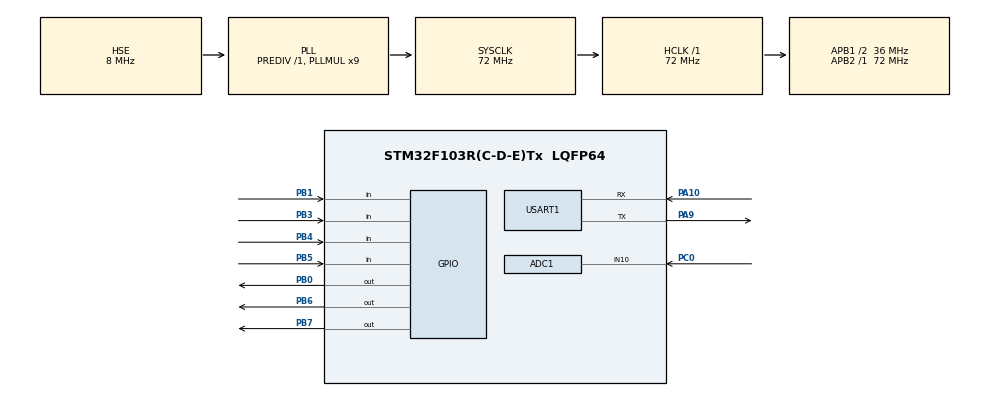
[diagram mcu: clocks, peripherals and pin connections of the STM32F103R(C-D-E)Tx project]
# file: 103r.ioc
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ADC1.Channel-1\#ChannelRegularConversion=ADC_CHANNEL_10
ADC1.NbrOfConversionFlag=1
ADC1.Rank-1\#ChannelRegularConversion=1
ADC1.SamplingTime-1\#ChannelRegularConversion=ADC_SAMPLETIME_1CYCLE_5
ADC1.master=1
Mcu.Family=STM32F1
Mcu.Name=STM32F103R(C-D-E)Tx
Mcu.Package=LQFP64
NVIC.PriorityGroup=NVIC_PRIORITYGROUP_2
NVIC.TIM6_IRQn=true\:0\:0\:false\:false\:true\:true\:true
NVIC.TIM7_IRQn=true\:0\:0\:false\:false\:true\:true\:true
NVIC.USART1_IRQn=true\:0\:0\:false\:false\:true\:true\:true
PA10.Mode=Asynchronous
PA10.Signal=USART1_RX
PA13.Mode=Serial_Wire
PA13.Signal=SYS_JTMS-SWDIO
PA14.Mode=Serial_Wire
PA14.Signal=SYS_JTCK-SWCLK
PA9.Mode=Asynchronous
PA9.Signal=USART1_TX
PB0.GPIO_PuPd=GPIO_NOPULL
PB0.GPIO_Speed=GPIO_SPEED_FREQ_MEDIUM
PB0.PinState=GPIO_PIN_SET
PB0.Signal=GPIO_Output
PB1.GPIO_PuPd=GPIO_PULLUP
PB1.Signal=GPIO_Input
PB3.GPIO_PuPd=GPIO_PULLUP
PB3.Signal=GPIO_Input
PB4.GPIO_PuPd=GPIO_PULLUP
PB4.Signal=GPIO_Input
PB5.GPIO_PuPd=GPIO_PULLUP
PB5.Signal=GPIO_Input
PB6.GPIO_ModeDefaultOutputPP=GPIO_MODE_OUTPUT_PP
PB6.GPIO_PuPd=GPIO_NOPULL
PB6.GPIO_Speed=GPIO_SPEED_FREQ_HIGH
PB6.PinState=GPIO_PIN_SET
PB6.Signal=GPIO_Output
PB7.GPIO_ModeDefaultOutputPP=GPIO_MODE_OUTPUT_PP
PB7.GPIO_PuPd=GPIO_NOPULL
PB7.GPIO_Speed=GPIO_SPEED_FREQ_HIGH
PB7.PinState=GPIO_PIN_SET
PB7.Signal=GPIO_Output
PC0.Signal=ADCx_IN10
PD0-OSC_IN.Mode=HSE-External-Oscillator
PD0-OSC_IN.Signal=RCC_OSC_IN
PD1-OSC_OUT.Mode=HSE-External-Oscillator
PD1-OSC_OUT.Signal=RCC_OSC_OUT
ProjectManager.HeapSize=0x200
ProjectManager.StackSize=0x400
ProjectManager.TargetToolchain=MDK-ARM V5
RCC.ADCPresc=RCC_ADCPCLK2_DIV6
RCC.AHBFreq_Value=72000000
RCC.APB1CLKDivider=RCC_HCLK_DIV2
RCC.APB1Freq_Value=36000000
RCC.APB1TimFreq_Value=72000000
RCC.APB2Freq_Value=72000000
RCC.APB2TimFreq_Value=72000000
RCC.HCLKFreq_Value=72000000
RCC.PLLMUL=RCC_PLL_MUL9
RCC.PLLSourceVirtual=RCC_PLLSOURCE_HSE
RCC.SYSCLKFreq_VALUE=72000000
RCC.SYSCLKSource=RCC_SYSCLKSOURCE_PLLCLK
RCC.USBFreq_Value=72000000
SH.ADCx_IN10.0=ADC1_IN10,IN10
TIM6.AutoReloadPreload=TIM_AUTORELOAD_PRELOAD_ENABLE
TIM6.Period=1000
TIM6.Prescaler=7200-1
TIM7.AutoReloadPreload=TIM_AUTORELOAD_PRELOAD_ENABLE
TIM7.Period=5000
TIM7.Prescaler=7200-1
TIM7.TIM_MasterOutputTrigger=TIM_TRGO_UPDATE
USART1.VirtualMode=VM_ASYNC
VP_TIM6_VS_ClockSourceINT.Mode=Enable_Timer
VP_TIM7_VS_ClockSourceINT.Mode=Enable_Timer
board=custom

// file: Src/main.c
/* USER CODE BEGIN Header */
/**
  ******************************************************************************
  * @file           : main.c
  * @brief          : Main program body
  ******************************************************************************
  * @attention
  *
  * <h2><center>&copy; Copyright (c) 2021 STMicroelectronics.
  * All rights reserved.</center></h2>
  *
  * This software component is licensed by ST under BSD 3-Clause license,
  * the "License"; You may not use this file except in compliance with the
  * License. You may obtain a copy of the License at:
  *                        opensource.org/licenses/BSD-3-Clause
  *
  ******************************************************************************
  */
/* USER CODE END Header */
#include "main.h"
#include "adc.h"
#include "tim.h"
#include "usart.h"
#include "gpio.h"

/* USER CODE BEGIN Includes */
#include "delay.h"
#include "oled.h"
#include "key.h"
#include "iic.h"
#include "esp8266.h"
#include "SOLGUI_Include.h"
/* USER CODE END Includes */

/* USER CODE BEGIN PV */
vu8 key=0;
MENU_PAGE wifi_list,wifi_init,wifi_conn,tcp_conn,senddata;
/* USER CODE END PV */

void SystemClock_Config(void);

/* USER CODE BEGIN 0 */
u32 switch_reg=0;

__M_PAGE(wifi_list,"wifi_list",PAGE_NULL,
{
	SOLGUI_Cursor(6,0,4);
	SOLGUI_Widget_GotoPage(0,&wifi_init);
	SOLGUI_Widget_GotoPage(1,&wifi_conn);
	SOLGUI_Widget_GotoPage(2,&tcp_conn);
	SOLGUI_Widget_GotoPage(3,&senddata);
});
__M_PAGE(wifi_init,"wifi_init",&wifi_list,
{
	SOLGUI_Cursor(0,0,1);
	SOLGUI_Widget_Switch(0,"WIFI init ON/OFF",&switch_reg,0);
});
__M_PAGE(wifi_conn,"wifi_conn",&wifi_list,
{
	SOLGUI_Cursor(0,0,1);
	SOLGUI_Widget_Switch(0,"WIFI connection ON/OFF",&switch_reg,1);
});
__M_PAGE(tcp_conn,"tcp_conn",&wifi_list,
{
	SOLGUI_Cursor(0,0,1);
	SOLGUI_Widget_Switch(0,"TCP connection ON/OFF",&switch_reg,2);
});
__M_PAGE(senddata,"senddata",&wifi_list,
{
	SOLGUI_Cursor(0,0,1);
	SOLGUI_Widget_Switch(0,"send mode ON/OFF",&switch_reg,3);
});
/* USER CODE END 0 */

int main(void)
{

  /* MCU Configuration--------------------------------------------------------*/

  /* Reset of all peripherals, Initializes the Flash interface and the Systick. */
  HAL_Init();

  /* Configure the system clock */
  SystemClock_Config();

  /* USER CODE BEGIN SysInit */
	systick_delayinit();
  /* USER CODE END SysInit */

  /* Initialize all configured peripherals */
  MX_GPIO_Init();
  MX_USART1_UART_Init();
  MX_ADC1_Init();
  MX_TIM6_Init();
  MX_TIM7_Init();
  /* USER CODE BEGIN 2 */
	iic_init();
	SOLGUI_Init(&wifi_list);
	atk_8266_quit_trans();
  /* USER CODE END 2 */

  /* Infinite loop */
  while (1)
  {

    /* USER CODE BEGIN 3 */
		key=KEY_Scan(0);
		SOLGUI_InputKey(key);
		esp_initjudge();
		esp_connectjudge();
		esp_tcpjudge();
		esp_senddatajudge();
		SOLGUI_Menu_PageStage();
		SOLGUI_Refresh();
  }
  /* USER CODE END 3 */
}

void SystemClock_Config(void)
{
  RCC_OscInitTypeDef RCC_OscInitStruct = {0};
  RCC_ClkInitTypeDef RCC_ClkInitStruct = {0};
  RCC_PeriphCLKInitTypeDef PeriphClkInit = {0};

  /** Initializes the RCC Oscillators according to the specified parameters
  * in the RCC_OscInitTypeDef structure.
  */
  RCC_OscInitStruct.OscillatorType = RCC_OSCILLATORTYPE_HSE;
  RCC_OscInitStruct.HSEState = RCC_HSE_ON;
  RCC_OscInitStruct.HSEPredivValue = RCC_HSE_PREDIV_DIV1;
  RCC_OscInitStruct.HSIState = RCC_HSI_ON;
  RCC_OscInitStruct.PLL.PLLState = RCC_PLL_ON;
  RCC_OscInitStruct.PLL.PLLSource = RCC_PLLSOURCE_HSE;
  RCC_OscInitStruct.PLL.PLLMUL = RCC_PLL_MUL9;
  if (HAL_RCC_OscConfig(&RCC_OscInitStruct) != HAL_OK)
  {
    Error_Handler();
  }
  /** Initializes the CPU, AHB and APB buses clocks
  */
  RCC_ClkInitStruct.ClockType = RCC_CLOCKTYPE_HCLK|RCC_CLOCKTYPE_SYSCLK
                              |RCC_CLOCKTYPE_PCLK1|RCC_CLOCKTYPE_PCLK2;
  RCC_ClkInitStruct.SYSCLKSource = RCC_SYSCLKSOURCE_PLLCLK;
  RCC_ClkInitStruct.AHBCLKDivider = RCC_SYSCLK_DIV1;
  RCC_ClkInitStruct.APB1CLKDivider = RCC_HCLK_DIV2;
  RCC_ClkInitStruct.APB2CLKDivider = RCC_HCLK_DIV1;

  if (HAL_RCC_ClockConfig(&RCC_ClkInitStruct, FLASH_LATENCY_2) != HAL_OK)
  {
    Error_Handler();
  }
  PeriphClkInit.PeriphClockSelection = RCC_PERIPHCLK_ADC;
  PeriphClkInit.AdcClockSelection = RCC_ADCPCLK2_DIV6;
  if (HAL_RCCEx_PeriphCLKConfig(&PeriphClkInit) != HAL_OK)
  {
    Error_Handler();
  }
}

void Error_Handler(void)
{
  __disable_irq();
  while (1)
  {
  }
}

/************************ (C) COPYRIGHT STMicroelectronics *****END OF FILE****/
